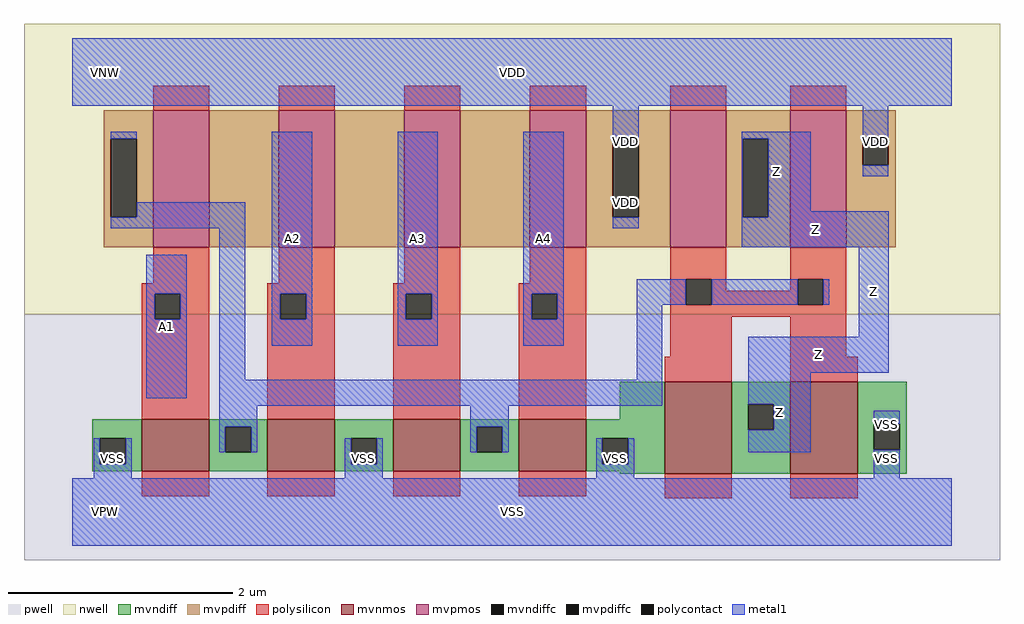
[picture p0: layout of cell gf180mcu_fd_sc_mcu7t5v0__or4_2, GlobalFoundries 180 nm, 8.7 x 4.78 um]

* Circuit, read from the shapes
.subckt gf180mcu_fd_sc_mcu7t5v0__or4_2 A1 A2 A3 A4 Z VDD VNW VPW VSS
XM1 n1 A1 VSS VPW nfet_06v0 w=0.465u l=0.6u
XM2 VSS A2 n1 VPW nfet_06v0 w=0.465u l=0.6u
XM3 n1 A3 VSS VPW nfet_06v0 w=0.465u l=0.6u
XM4 VSS A4 n1 VPW nfet_06v0 w=0.465u l=0.6u
XM5 Z n1 VSS VPW nfet_06v0 w=0.82u l=0.6u m=2
XM6 n2 A1 n1 VNW pfet_06v0 w=1.22u l=0.5u
XM7 n3 A2 n2 VNW pfet_06v0 w=1.22u l=0.5u
XM8 n4 A3 n3 VNW pfet_06v0 w=1.22u l=0.5u
XM9 VDD A4 n4 VNW pfet_06v0 w=1.22u l=0.5u
XM10 Z n1 VDD VNW pfet_06v0 w=1.22u l=0.5u m=2
.ends

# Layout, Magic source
magic
tech gf180mcuD
magscale 1 10
<< nwell >>
rect -86 352 1654 870
<< pwell >>
rect -86 -86 1654 352
<< mvnmos >>
rect 124 72 244 165
rect 348 72 468 165
rect 572 72 692 165
rect 796 72 916 165
rect 1056 68 1176 232
rect 1280 68 1400 232
<< mvpmos >>
rect 144 472 244 716
rect 368 472 468 716
rect 592 472 692 716
rect 816 472 916 716
rect 1066 472 1166 716
rect 1280 472 1380 716
<< mvndiff >>
rect 976 165 1056 232
rect 36 131 124 165
rect 36 85 49 131
rect 95 85 124 131
rect 36 72 124 85
rect 244 152 348 165
rect 244 106 273 152
rect 319 106 348 152
rect 244 72 348 106
rect 468 131 572 165
rect 468 85 497 131
rect 543 85 572 131
rect 468 72 572 85
rect 692 152 796 165
rect 692 106 721 152
rect 767 106 796 152
rect 692 72 796 106
rect 916 131 1056 165
rect 916 85 945 131
rect 991 85 1056 131
rect 916 72 1056 85
rect 976 68 1056 72
rect 1176 192 1280 232
rect 1176 146 1205 192
rect 1251 146 1280 192
rect 1176 68 1280 146
rect 1400 157 1488 232
rect 1400 111 1429 157
rect 1475 111 1488 157
rect 1400 68 1488 111
<< mvpdiff >>
rect 56 665 144 716
rect 56 525 69 665
rect 115 525 144 665
rect 56 472 144 525
rect 244 472 368 716
rect 468 472 592 716
rect 692 472 816 716
rect 916 665 1066 716
rect 916 525 964 665
rect 1010 525 1066 665
rect 916 472 1066 525
rect 1166 665 1280 716
rect 1166 525 1195 665
rect 1241 525 1280 665
rect 1166 472 1280 525
rect 1380 664 1468 716
rect 1380 618 1409 664
rect 1455 618 1468 664
rect 1380 472 1468 618
<< mvndiffc >>
rect 49 85 95 131
rect 273 106 319 152
rect 497 85 543 131
rect 721 106 767 152
rect 945 85 991 131
rect 1205 146 1251 192
rect 1429 111 1475 157
<< mvpdiffc >>
rect 69 525 115 665
rect 964 525 1010 665
rect 1195 525 1241 665
rect 1409 618 1455 664
<< polysilicon >>
rect 144 716 244 760
rect 368 716 468 760
rect 592 716 692 760
rect 816 716 916 760
rect 1066 716 1166 760
rect 1280 716 1380 760
rect 144 408 244 472
rect 368 408 468 472
rect 592 408 692 472
rect 816 408 916 472
rect 124 389 244 408
rect 124 343 147 389
rect 193 343 244 389
rect 124 165 244 343
rect 348 389 468 408
rect 348 343 371 389
rect 417 343 468 389
rect 348 165 468 343
rect 572 389 692 408
rect 572 343 595 389
rect 641 343 692 389
rect 572 165 692 343
rect 796 389 916 408
rect 796 343 819 389
rect 865 343 916 389
rect 796 165 916 343
rect 1066 415 1166 472
rect 1066 369 1094 415
rect 1140 394 1166 415
rect 1280 415 1380 472
rect 1280 394 1293 415
rect 1140 369 1293 394
rect 1339 369 1380 415
rect 1066 348 1380 369
rect 1066 277 1176 348
rect 1056 232 1176 277
rect 1280 277 1380 348
rect 1280 232 1400 277
rect 124 28 244 72
rect 348 28 468 72
rect 572 28 692 72
rect 796 28 916 72
rect 1056 24 1176 68
rect 1280 24 1400 68
<< polycontact >>
rect 147 343 193 389
rect 371 343 417 389
rect 595 343 641 389
rect 819 343 865 389
rect 1094 369 1140 415
rect 1293 369 1339 415
<< metal1 >>
rect 0 724 1568 844
rect 69 665 115 678
rect 115 525 308 552
rect 69 506 308 525
rect 132 389 204 458
rect 132 343 147 389
rect 193 343 204 389
rect 132 203 204 343
rect 262 236 308 506
rect 356 389 428 678
rect 356 343 371 389
rect 417 343 428 389
rect 356 296 428 343
rect 580 389 652 678
rect 580 343 595 389
rect 641 343 652 389
rect 580 296 652 343
rect 804 389 876 678
rect 964 665 1010 724
rect 964 506 1010 525
rect 1194 665 1317 678
rect 1194 525 1195 665
rect 1241 536 1317 665
rect 1409 664 1455 724
rect 1409 598 1455 618
rect 1241 525 1456 536
rect 1194 472 1456 525
rect 804 343 819 389
rect 865 343 876 389
rect 804 296 876 343
rect 1006 369 1094 415
rect 1140 369 1293 415
rect 1339 369 1350 415
rect 1006 236 1052 369
rect 1402 312 1456 472
rect 262 189 1052 236
rect 1205 248 1456 312
rect 1205 192 1317 248
rect 262 152 330 189
rect 38 85 49 131
rect 95 85 106 131
rect 262 106 273 152
rect 319 106 330 152
rect 710 152 778 189
rect 38 60 106 85
rect 486 85 497 131
rect 543 85 554 131
rect 710 106 721 152
rect 767 106 778 152
rect 1251 146 1317 192
rect 486 60 554 85
rect 934 85 945 131
rect 991 85 1002 131
rect 1205 106 1317 146
rect 1429 157 1475 180
rect 934 60 1002 85
rect 1429 60 1475 111
rect 0 -60 1568 60
<< labels >>
flabel metal1 s 132 203 204 458 0 FreeSans 400 0 0 0 A1
port 1 nsew default input
flabel metal1 s 580 296 652 678 0 FreeSans 400 0 0 0 A3
port 3 nsew default input
flabel metal1 s 804 296 876 678 0 FreeSans 400 0 0 0 A4
port 4 nsew default input
flabel metal1 s 0 724 1568 844 0 FreeSans 400 0 0 0 VDD
port 6 nsew power bidirectional abutment
flabel metal1 s 1429 131 1475 180 0 FreeSans 400 0 0 0 VSS
port 9 nsew ground bidirectional abutment
flabel metal1 s 1194 536 1317 678 0 FreeSans 400 0 0 0 Z
port 5 nsew default output
flabel metal1 s 356 296 428 678 0 FreeSans 400 0 0 0 A2
port 2 nsew default input
flabel nwell s 10 734 110 834 0 FreeSans 400 0 0 0 VNW
port 7 nsew power bidirectional
flabel pwell s 10 -50 110 50 0 FreeSans 400 0 0 0 VPW
port 8 nsew ground bidirectional
rlabel metal1 s 1194 472 1456 536 1 Z
port 5 nsew default output
rlabel metal1 s 1402 312 1456 472 1 Z
port 5 nsew default output
rlabel metal1 s 1205 248 1456 312 1 Z
port 5 nsew default output
rlabel metal1 s 1205 106 1317 248 1 Z
port 5 nsew default output
rlabel metal1 s 1409 598 1455 724 1 VDD
port 6 nsew power bidirectional abutment
rlabel metal1 s 964 598 1010 724 1 VDD
port 6 nsew power bidirectional abutment
rlabel metal1 s 964 506 1010 598 1 VDD
port 6 nsew power bidirectional abutment
rlabel metal1 s 1429 60 1475 131 1 VSS
port 9 nsew ground bidirectional abutment
rlabel metal1 s 934 60 1002 131 1 VSS
port 9 nsew ground bidirectional abutment
rlabel metal1 s 486 60 554 131 1 VSS
port 9 nsew ground bidirectional abutment
rlabel metal1 s 38 60 106 131 1 VSS
port 9 nsew ground bidirectional abutment
rlabel metal1 s 0 -60 1568 60 1 VSS
port 9 nsew ground bidirectional abutment
<< properties >>
string FIXED_BBOX 0 0 1568 784
string GDS_END 175942
string GDS_FILE $PDKPATH/libs.ref/gf180mcu_fd_sc_mcu7t5v0/gds/gf180mcu_fd_sc_mcu7t5v0.gds
string GDS_START 171784
string LEFclass core
string LEFsite GF018hv5v_mcu_sc7
string LEFsymmetry X Y
<< end >>
